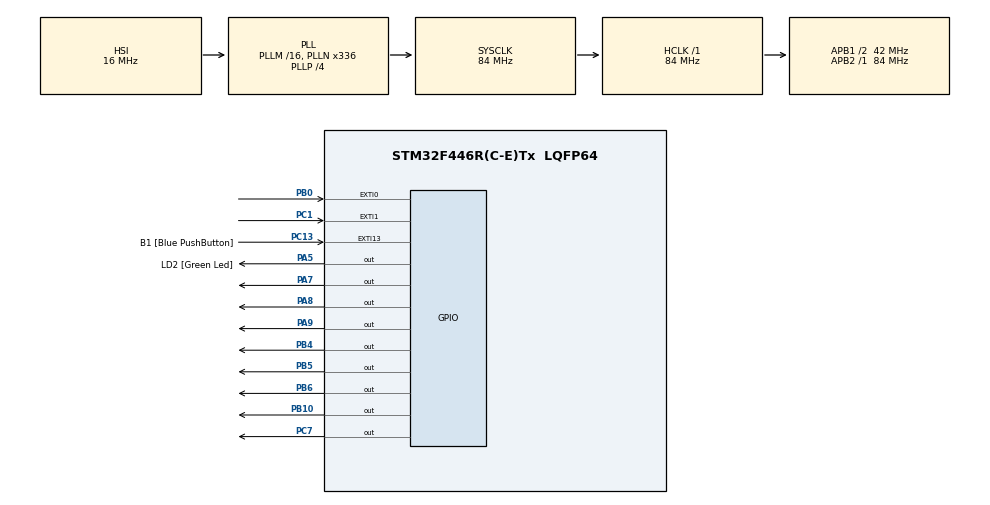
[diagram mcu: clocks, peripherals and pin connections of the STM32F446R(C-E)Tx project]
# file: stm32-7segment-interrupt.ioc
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Mcu.Family=STM32F4
Mcu.Name=STM32F446R(C-E)Tx
Mcu.Package=LQFP64
NVIC.EXTI0_IRQn=true\:0\:0\:false\:false\:true\:true\:true\:true
NVIC.EXTI1_IRQn=true\:0\:0\:false\:false\:true\:true\:true\:true
NVIC.PriorityGroup=NVIC_PRIORITYGROUP_0
PA13.GPIO_Label=TMS
PA13.Signal=SYS_JTMS-SWDIO
PA14.GPIO_Label=TCK
PA14.Signal=SYS_JTCK-SWCLK
PA2.GPIO_Label=USART_TX
PA2.Signal=USART2_TX
PA3.GPIO_Label=USART_RX
PA3.Signal=USART2_RX
PA5.GPIO_Label=LD2 [Green Led]
PA5.Signal=GPIO_Output
PA7.Signal=GPIO_Output
PA8.Signal=GPIO_Output
PA9.Signal=GPIO_Output
PB0.GPIO_ModeDefaultEXTI=GPIO_MODE_IT_FALLING
PB0.Signal=GPXTI0
PB10.Signal=GPIO_Output
PB3.GPIO_Label=SWO
PB3.Signal=SYS_JTDO-SWO
PB4.Signal=GPIO_Output
PB5.Signal=GPIO_Output
PB6.Signal=GPIO_Output
PC1.GPIO_ModeDefaultEXTI=GPIO_MODE_IT_FALLING
PC1.Signal=GPXTI1
PC13.GPIO_Label=B1 [Blue PushButton]
PC13.GPIO_ModeDefaultEXTI=GPIO_MODE_IT_FALLING
PC13.Signal=GPXTI13
PC14-OSC32_IN.Signal=RCC_OSC32_IN
PC15-OSC32_OUT.Signal=RCC_OSC32_OUT
PC7.Signal=GPIO_Output
PH0-OSC_IN.Signal=RCC_OSC_IN
PH1-OSC_OUT.Signal=RCC_OSC_OUT
ProjectManager.HeapSize=0x200
ProjectManager.StackSize=0x400
ProjectManager.TargetToolchain=STM32CubeIDE
RCC.AHBFreq_Value=84000000
RCC.APB1CLKDivider=RCC_HCLK_DIV2
RCC.APB1Freq_Value=42000000
RCC.APB1TimFreq_Value=84000000
RCC.APB2Freq_Value=84000000
RCC.APB2TimFreq_Value=84000000
RCC.CortexFreq_Value=84000000
RCC.FLatency-AdvancedSettings=FLASH_LATENCY_2
RCC.HCLKFreq_Value=84000000
RCC.HSE_VALUE=8000000
RCC.HSI_VALUE=16000000
RCC.LSE_VALUE=32768
RCC.PLLN=336
RCC.PLLP=RCC_PLLP_DIV4
RCC.SYSCLKFreq_VALUE=84000000
RCC.SYSCLKSource=RCC_SYSCLKSOURCE_PLLCLK
RCC.USBFreq_Value=168000000
RCC.VCOOutputFreq_Value=336000000
board=NUCLEO-F446RE

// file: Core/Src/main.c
/* USER CODE BEGIN Header */
/**
  ******************************************************************************
  * @file           : main.c
  * @brief          : Main program body
  ******************************************************************************
  * @attention
  *
  * Copyright (c) 2026 STMicroelectronics.
  * All rights reserved.
  *
  * This software is licensed under terms that can be found in the LICENSE file
  * in the root directory of this software component.
  * If no LICENSE file comes with this software, it is provided AS-IS.
  *
  ******************************************************************************
  */
/* USER CODE END Header */
#include "main.h"

void SystemClock_Config(void);
static void MX_GPIO_Init(void);
/* USER CODE BEGIN PFP */

void Display_Digit(uint8_t digit);
void Write_Digit(
    GPIO_PinState a,
    GPIO_PinState b,
    GPIO_PinState c,
    GPIO_PinState d,
    GPIO_PinState e,
    GPIO_PinState f,
    GPIO_PinState g,
    GPIO_PinState dp);

/* USER CODE END PFP */

int main(void)
{

  /* MCU Configuration--------------------------------------------------------*/

  /* Reset of all peripherals, Initializes the Flash interface and the Systick. */
  HAL_Init();

  /* Configure the system clock */
  SystemClock_Config();

  /* Initialize all configured peripherals */
  MX_GPIO_Init();

  /* Infinite loop */
  while (1)
  {

    /* USER CODE BEGIN 3 */
	for (int i=0; i < 10; i++)
	{
		Display_Digit(i);
		HAL_Delay(1000);
	}
  }
  /* USER CODE END 3 */
}

void SystemClock_Config(void)
{
  RCC_OscInitTypeDef RCC_OscInitStruct = {0};
  RCC_ClkInitTypeDef RCC_ClkInitStruct = {0};

  /** Configure the main internal regulator output voltage
  */
  __HAL_RCC_PWR_CLK_ENABLE();
  __HAL_PWR_VOLTAGESCALING_CONFIG(PWR_REGULATOR_VOLTAGE_SCALE3);

  /** Initializes the RCC Oscillators according to the specified parameters
  * in the RCC_OscInitTypeDef structure.
  */
  RCC_OscInitStruct.OscillatorType = RCC_OSCILLATORTYPE_HSI;
  RCC_OscInitStruct.HSIState = RCC_HSI_ON;
  RCC_OscInitStruct.HSICalibrationValue = RCC_HSICALIBRATION_DEFAULT;
  RCC_OscInitStruct.PLL.PLLState = RCC_PLL_ON;
  RCC_OscInitStruct.PLL.PLLSource = RCC_PLLSOURCE_HSI;
  RCC_OscInitStruct.PLL.PLLM = 16;
  RCC_OscInitStruct.PLL.PLLN = 336;
  RCC_OscInitStruct.PLL.PLLP = RCC_PLLP_DIV4;
  RCC_OscInitStruct.PLL.PLLQ = 2;
  RCC_OscInitStruct.PLL.PLLR = 2;
  if (HAL_RCC_OscConfig(&RCC_OscInitStruct) != HAL_OK)
  {
    Error_Handler();
  }

  /** Initializes the CPU, AHB and APB buses clocks
  */
  RCC_ClkInitStruct.ClockType = RCC_CLOCKTYPE_HCLK|RCC_CLOCKTYPE_SYSCLK
                              |RCC_CLOCKTYPE_PCLK1|RCC_CLOCKTYPE_PCLK2;
  RCC_ClkInitStruct.SYSCLKSource = RCC_SYSCLKSOURCE_PLLCLK;
  RCC_ClkInitStruct.AHBCLKDivider = RCC_SYSCLK_DIV1;
  RCC_ClkInitStruct.APB1CLKDivider = RCC_HCLK_DIV2;
  RCC_ClkInitStruct.APB2CLKDivider = RCC_HCLK_DIV1;

  if (HAL_RCC_ClockConfig(&RCC_ClkInitStruct, FLASH_LATENCY_2) != HAL_OK)
  {
    Error_Handler();
  }
}

static void MX_GPIO_Init(void)
{
  GPIO_InitTypeDef GPIO_InitStruct = {0};

  /* GPIO Ports Clock Enable */
  __HAL_RCC_GPIOC_CLK_ENABLE();
  __HAL_RCC_GPIOH_CLK_ENABLE();
  __HAL_RCC_GPIOA_CLK_ENABLE();
  __HAL_RCC_GPIOB_CLK_ENABLE();

  /*Configure GPIO pin Output Level */
  HAL_GPIO_WritePin(GPIOA, LD2_Pin|GPIO_PIN_7|GPIO_PIN_8|GPIO_PIN_9, GPIO_PIN_RESET);

  /*Configure GPIO pin Output Level */
  HAL_GPIO_WritePin(GPIOB, GPIO_PIN_10|GPIO_PIN_4|GPIO_PIN_5|GPIO_PIN_6, GPIO_PIN_RESET);

  /*Configure GPIO pin Output Level */
  HAL_GPIO_WritePin(GPIOC, GPIO_PIN_7, GPIO_PIN_RESET);

  /*Configure GPIO pins : B1_Pin PC1 */
  GPIO_InitStruct.Pin = B1_Pin|GPIO_PIN_1;
  GPIO_InitStruct.Mode = GPIO_MODE_IT_FALLING;
  GPIO_InitStruct.Pull = GPIO_NOPULL;
  HAL_GPIO_Init(GPIOC, &GPIO_InitStruct);

  /*Configure GPIO pins : USART_TX_Pin USART_RX_Pin */
  GPIO_InitStruct.Pin = USART_TX_Pin|USART_RX_Pin;
  GPIO_InitStruct.Mode = GPIO_MODE_AF_PP;
  GPIO_InitStruct.Pull = GPIO_NOPULL;
  GPIO_InitStruct.Speed = GPIO_SPEED_FREQ_VERY_HIGH;
  GPIO_InitStruct.Alternate = GPIO_AF7_USART2;
  HAL_GPIO_Init(GPIOA, &GPIO_InitStruct);

  /*Configure GPIO pins : LD2_Pin PA7 PA8 PA9 */
  GPIO_InitStruct.Pin = LD2_Pin|GPIO_PIN_7|GPIO_PIN_8|GPIO_PIN_9;
  GPIO_InitStruct.Mode = GPIO_MODE_OUTPUT_PP;
  GPIO_InitStruct.Pull = GPIO_NOPULL;
  GPIO_InitStruct.Speed = GPIO_SPEED_FREQ_LOW;
  HAL_GPIO_Init(GPIOA, &GPIO_InitStruct);

  /*Configure GPIO pin : PB0 */
  GPIO_InitStruct.Pin = GPIO_PIN_0;
  GPIO_InitStruct.Mode = GPIO_MODE_IT_FALLING;
  GPIO_InitStruct.Pull = GPIO_NOPULL;
  HAL_GPIO_Init(GPIOB, &GPIO_InitStruct);

  /*Configure GPIO pins : PB10 PB4 PB5 PB6 */
  GPIO_InitStruct.Pin = GPIO_PIN_10|GPIO_PIN_4|GPIO_PIN_5|GPIO_PIN_6;
  GPIO_InitStruct.Mode = GPIO_MODE_OUTPUT_PP;
  GPIO_InitStruct.Pull = GPIO_NOPULL;
  GPIO_InitStruct.Speed = GPIO_SPEED_FREQ_LOW;
  HAL_GPIO_Init(GPIOB, &GPIO_InitStruct);

  /*Configure GPIO pin : PC7 */
  GPIO_InitStruct.Pin = GPIO_PIN_7;
  GPIO_InitStruct.Mode = GPIO_MODE_OUTPUT_PP;
  GPIO_InitStruct.Pull = GPIO_NOPULL;
  GPIO_InitStruct.Speed = GPIO_SPEED_FREQ_LOW;
  HAL_GPIO_Init(GPIOC, &GPIO_InitStruct);

  /* EXTI interrupt init*/
  HAL_NVIC_SetPriority(EXTI0_IRQn, 0, 0);
  HAL_NVIC_EnableIRQ(EXTI0_IRQn);

  HAL_NVIC_SetPriority(EXTI1_IRQn, 0, 0);
  HAL_NVIC_EnableIRQ(EXTI1_IRQn);

}

/* USER CODE BEGIN 4 */

void Display_Digit(uint8_t digit)
{
    switch (digit)
    {
        case 0:
            Write_Digit(1, 1, 1, 1, 1, 1, 0, 0);
            break;

        case 1:
            Write_Digit(0, 1, 1, 0, 0, 0, 0, 0);
            break;

        case 2:
            Write_Digit(1, 1, 0, 1, 1, 0, 1, 0);
            break;

        case 3:
            Write_Digit(1, 1, 1, 1, 0, 0, 1, 0);
            break;

        case 4:
            Write_Digit(0, 1, 1, 0, 0, 1, 1, 0);
            break;

        case 5:
            Write_Digit(1, 0, 1, 1, 0, 1, 1, 0);
            break;

        case 6:
            Write_Digit(1, 0, 1, 1, 1, 1, 1, 0);
            break;

        case 7:
            Write_Digit(1, 1, 1, 0, 0, 0, 0, 0);
            break;

        case 8:
            Write_Digit(1, 1, 1, 1, 1, 1, 1, 0);
            break;

        case 9:
            Write_Digit(1, 1, 1, 1, 0, 1, 1, 0);
            break;

        default:
            Write_Digit(0, 0, 0, 0, 0, 0, 0, 0);
            break;
    }
}

void Write_Digit(
    GPIO_PinState a,
    GPIO_PinState b,
    GPIO_PinState c,
    GPIO_PinState d,
    GPIO_PinState e,
    GPIO_PinState f,
    GPIO_PinState g,
    GPIO_PinState dp)
{
    HAL_GPIO_WritePin(GPIOB, GPIO_PIN_5, a);    // A
    HAL_GPIO_WritePin(GPIOB, GPIO_PIN_4, b);    // B
    HAL_GPIO_WritePin(GPIOB, GPIO_PIN_10, c);   // C
    HAL_GPIO_WritePin(GPIOA, GPIO_PIN_8, d);    // D
    HAL_GPIO_WritePin(GPIOA, GPIO_PIN_9, e);    // E
    HAL_GPIO_WritePin(GPIOC, GPIO_PIN_7, f);    // F
    HAL_GPIO_WritePin(GPIOB, GPIO_PIN_6, g);    // G
    HAL_GPIO_WritePin(GPIOA, GPIO_PIN_7, dp);   // DP
}

void HAL_GPIO_EXTI_Callback(uint16_t GPIO_Pin)
{
    if (GPIO_Pin == GPIO_PIN_0)
    {
    	Display_Digit(0);
    }
    if (GPIO_Pin == GPIO_PIN_1)
    {
    	Display_Digit(9);
    }
}

/* USER CODE END 4 */

void Error_Handler(void)
{
  __disable_irq();
  while (1)
  {
  }
}
